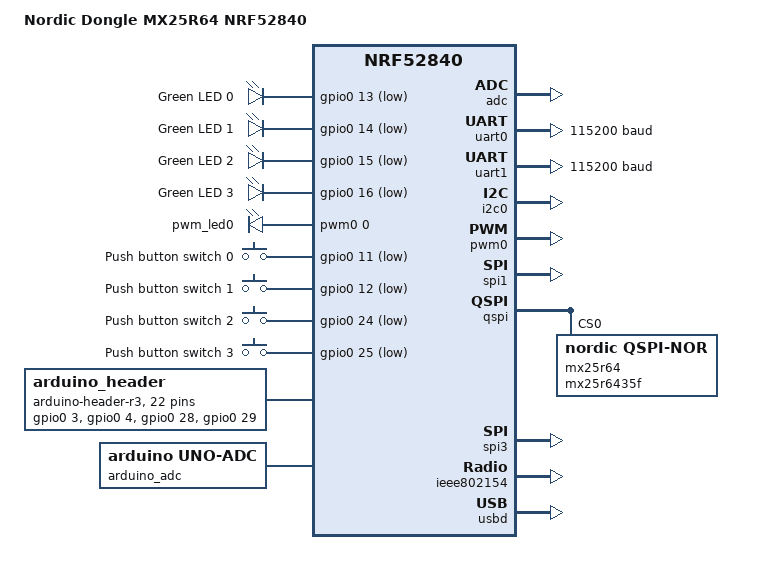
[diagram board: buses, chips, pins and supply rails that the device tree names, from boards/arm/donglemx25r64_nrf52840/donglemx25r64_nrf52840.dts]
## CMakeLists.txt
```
#
# Copyright (c) 2021 Nordic Semiconductor ASA
#
# SPDX-License-Identifier: LicenseRef-Nordic-5-Clause
#

cmake_minimum_required(VERSION 3.20.0)

list(APPEND BOARD_ROOT ${CMAKE_CURRENT_SOURCE_DIR}/.)

get_filename_component(MATTER_MODULE_ROOT $ENV{ZEPHYR_BASE}/../modules/lib/matter REALPATH)

# Set Kconfig root files that will be processed as a first Kconfig for used child images.
set(mcuboot_KCONFIG_ROOT ${MATTER_MODULE_ROOT}/config/nrfconnect/chip-module/Kconfig.mcuboot.root)
set(multiprotocol_rpmsg_KCONFIG_ROOT ${MATTER_MODULE_ROOT}/config/nrfconnect/chip-module/Kconfig.multiprotocol_rpmsg.root)

# For prj.conf the CONF_FILE is empty. In other case extract the exact file name from the path string.
if(CONF_FILE)
    get_filename_component(CONFIG_FILE_NAME ${CONF_FILE} NAME)
endif()

if(NOT CONFIG_FILE_NAME STREQUAL "prj_no_dfu.conf")
    set(PM_STATIC_YML_FILE ${CMAKE_CURRENT_SOURCE_DIR}/configuration/${BOARD}/pm_static_dfu.yml)
endif()

find_package(Zephyr HINTS $ENV{ZEPHYR_BASE})

project(matter-light-bulb)

set(COMMON_ROOT ${ZEPHYR_NRF_MODULE_DIR}/samples/matter/common)
set(NLIO_ROOT ${MATTER_MODULE_ROOT}/third_party/nlio/repo)
include(${MATTER_MODULE_ROOT}/config/nrfconnect/app/enable-gnu-std.cmake)
include(${MATTER_MODULE_ROOT}/src/app/chip_data_model.cmake)

# NORDIC SDK APP START
target_include_directories(app PRIVATE
    src
    ${COMMON_ROOT}/src
    ${NLIO_ROOT}/include
    ${MATTER_MODULE_ROOT}/zzz_generated/app-common
)

target_sources(app PRIVATE
    src/app_task.cpp
    src/main.cpp
    src/zcl_callbacks.cpp
    src/zap-generated/IMClusterCommandHandler.cpp
    src/zap-generated/callback-stub.cpp
    src/libs/ir_protocol.c
    src/libs/ir_thread.c
    src/libs/ir_remote.c
    src/libs/projector_thread.c
    src/libs/screen_thread.c
    ${COMMON_ROOT}/src/led_widget.cpp
    $<$<BOOL:${CONFIG_NET_L2_OPENTHREAD}>:${COMMON_ROOT}/src/thread_util.cpp>
    ${COMMON_ROOT}/src/pwm_device.cpp
)

if(CONFIG_CHIP_OTA_REQUESTOR OR CONFIG_MCUMGR_SMP_BT)
    target_sources(app PRIVATE ${COMMON_ROOT}/src/ota_util.cpp)
endif()

if(CONFIG_MCUMGR_SMP_BT)
    target_sources(app PRIVATE ${COMMON_ROOT}/src/dfu_over_smp.cpp)
endif()

chip_configure_data_model(app
    INCLUDE_SERVER
    ZAP_FILE ${CMAKE_CURRENT_SOURCE_DIR}/src/light_bulb.zap
)
# NORDIC SDK APP END
```

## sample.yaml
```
sample:
  description: Matter Light Bulb example
  name: Matter Light Bulb
tests:
  sample.matter.light_bulb.debug:
    build_only: true
    integration_platforms:
      - nrf52840dk_nrf52840
      - nrf5340dk_nrf5340_cpuapp
      - nrf7002dk_nrf5340_cpuapp
    platform_allow: nrf52840dk_nrf52840 nrf5340dk_nrf5340_cpuapp nrf7002dk_nrf5340_cpuapp
    tags: ci_build
  sample.matter.light_bulb.no_dfu:
    build_only: true
    extra_args: CONF_FILE=prj_no_dfu.conf
    integration_platforms:
      - nrf52840dk_nrf52840
      - nrf5340dk_nrf5340_cpuapp
      - nrf21540dk_nrf52840
      - nrf7002dk_nrf5340_cpuapp
      - nrf52840dongle_nrf52840
    platform_allow: nrf52840dk_nrf52840 nrf5340dk_nrf5340_cpuapp nrf21540dk_nrf52840 nrf7002dk_nrf5340_cpuapp nrf52840dongle_nrf52840
    tags: ci_build
  sample.matter.light_bulb.release:
    build_only: true
    extra_args: CONF_FILE=prj_release.conf
    integration_platforms:
      - nrf52840dk_nrf52840
      - nrf5340dk_nrf5340_cpuapp
      - nrf7002dk_nrf5340_cpuapp
    platform_allow: nrf52840dk_nrf52840 nrf5340dk_nrf5340_cpuapp nrf7002dk_nrf5340_cpuapp
    tags: ci_build
  sample.matter.light_bulb.smp_dfu:
    build_only: true
    extra_args: CONFIG_CHIP_DFU_OVER_BT_SMP=y
    integration_platforms:
      - nrf52840dk_nrf52840
      - nrf5340dk_nrf5340_cpuapp
    platform_allow: nrf52840dk_nrf52840 nrf5340dk_nrf5340_cpuapp
    tags: ci_build
  sample.matter.light_bulb.no_dfu.nrf7002_ek:
    build_only: true
    extra_args: SHIELD=nrf7002_ek CONF_FILE=prj_no_dfu.conf
    integration_platforms:
      - nrf5340dk_nrf5340_cpuapp
    platform_allow: nrf5340dk_nrf5340_cpuapp
    tags: ci_build
  sample.matter.light_bulb.ffs:
    build_only: true
    extra_args: CONFIG_CHIP_COMMISSIONABLE_DEVICE_TYPE=y CONFIG_CHIP_ROTATING_DEVICE_ID=y CONFIG_CHIP_DEVICE_TYPE=256
    integration_platforms:
      - nrf52840dk_nrf52840
      - nrf5340dk_nrf5340_cpuapp
    platform_allow: nrf52840dk_nrf52840 nrf5340dk_nrf5340_cpuapp
    tags: ci_build
```

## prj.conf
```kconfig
#
# Copyright (c) 2022 Nordic Semiconductor ASA
#
# SPDX-License-Identifier: LicenseRef-Nordic-5-Clause
#

# Enable CHIP
CONFIG_CHIP=y
CONFIG_CHIP_PROJECT_CONFIG="src/chip_project_config.h"
# 32773 == 0x8005 (example lighting-app)
CONFIG_CHIP_DEVICE_VENDOR_ID=65521
CONFIG_CHIP_DEVICE_PRODUCT_ID=32773
CONFIG_STD_CPP14=y

CONFIG_CHIP_DEVICE_SOFTWARE_VERSION=1
CONFIG_CHIP_DEVICE_SOFTWARE_VERSION_STRING="V0.0.1"
CONFIG_CHIP_DEVICE_SERIAL_NUMBER="20230107-0001"
CONFIG_CHIP_DEVICE_VENDOR_NAME="Krzysztof Rosinski"
CONFIG_CHIP_DEVICE_PRODUCT_NAME="Projector And Screen"
CONFIG_CHIP_DEVICE_MANUFACTURING_DATE="2023-01-07"
CONFIG_CHIP_DEVICE_HARDWARE_VERSION=1
CONFIG_CHIP_DEVICE_HARDWARE_VERSION_STRING="V0.0.1"

# Enable CHIP pairing automatically on application start.
CONFIG_CHIP_ENABLE_PAIRING_AUTOSTART=y

# Add support for LEDs and buttons on Nordic development kits
CONFIG_DK_LIBRARY=y
CONFIG_PWM=y

# General networking settings
CONFIG_NET_IF_MCAST_IPV6_ADDR_COUNT=14

# Bluetooth Low Energy configuration
CONFIG_BT_DEVICE_NAME="MatterLight"

# Other settings
CONFIG_THREAD_NAME=y
CONFIG_MPU_STACK_GUARD=y
CONFIG_RESET_ON_FATAL_ERROR=n
```

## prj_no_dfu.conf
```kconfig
#
# Copyright (c) 2022 Nordic Semiconductor ASA
#
# SPDX-License-Identifier: LicenseRef-Nordic-5-Clause
#

# Enable CHIP
CONFIG_CHIP=y
CONFIG_CHIP_PROJECT_CONFIG="src/chip_project_config.h"
# 32773 == 0x8005 (example lighting-app)
CONFIG_CHIP_DEVICE_VENDOR_ID=65521
CONFIG_CHIP_DEVICE_PRODUCT_ID=32773
CONFIG_STD_CPP14=y

CONFIG_CHIP_DEVICE_SOFTWARE_VERSION=1
CONFIG_CHIP_DEVICE_SOFTWARE_VERSION_STRING="V0.0.1"
CONFIG_CHIP_DEVICE_SERIAL_NUMBER="20230107-0001"
CONFIG_CHIP_DEVICE_VENDOR_NAME="Krzysztof Rosinski"
CONFIG_CHIP_DEVICE_PRODUCT_NAME="Projector And Screen"
CONFIG_CHIP_DEVICE_MANUFACTURING_DATE="2023-01-07"
CONFIG_CHIP_DEVICE_HARDWARE_VERSION=1
CONFIG_CHIP_DEVICE_HARDWARE_VERSION_STRING="V0.0.1"

# Enable CHIP pairing automatically on application start.
CONFIG_CHIP_ENABLE_PAIRING_AUTOSTART=y

# Add support for LEDs and buttons on Nordic development kits
CONFIG_DK_LIBRARY=y
CONFIG_PWM=y

# General networking settings
CONFIG_NET_IF_MCAST_IPV6_ADDR_COUNT=14

# Bluetooth Low Energy configuration
CONFIG_BT_DEVICE_NAME="MatterLight"

# Other settings
CONFIG_THREAD_NAME=y
CONFIG_MPU_STACK_GUARD=y
CONFIG_RESET_ON_FATAL_ERROR=n

# Disable Matter OTA DFU
CONFIG_CHIP_OTA_REQUESTOR=n

# Disable QSPI NOR
CONFIG_CHIP_QSPI_NOR=n
```

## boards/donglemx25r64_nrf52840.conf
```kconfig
CONFIG_CHIP_QSPI_NOR=y
```

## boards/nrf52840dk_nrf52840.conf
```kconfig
CONFIG_NFCT_PINS_AS_GPIOS=y
```

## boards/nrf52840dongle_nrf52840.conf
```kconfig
CONFIG_BOARD_HAS_NRF5_BOOTLOADER=n
CONFIG_NFCT_PINS_AS_GPIOS=y
CONFIG_NORDIC_QSPI_NOR=y
```

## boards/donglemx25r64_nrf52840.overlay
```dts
/*
 * Copyright (c) 2021-2022 Nordic Semiconductor ASA
 *
 * SPDX-License-Identifier: LicenseRef-Nordic-5-Clause
 */

 / {
  /*
  * In some default configurations within the nRF Connect SDK,
  * e.g. on nRF52840, the chosen zephyr,entropy node is &cryptocell.
  * This devicetree overlay ensures that default is overridden wherever it
  * is set, as this application uses the RNG node for entropy exclusively.
  */

  chosen {
    zephyr,entropy = &rng;
  };

  /*
  * By default, PWM module is only configured for led0 (LED1 on the board).
  * The light bulb app, however, uses LED2 to show the state of the lighting,
  * including its brightness level.
  */
  aliases {
    pwm-led1 = &pwm_led1;
    pwm-ir = &pwm_ir;
  };

  pwmleds {
    pwm_led1: pwm_led_1 {
      pwms = <&pwm0 1 PWM_MSEC(20) PWM_POLARITY_INVERTED>;
    };
  };

  pwm-ir {
    compatible = "pwm-leds";
    pwm_ir: pwm_ir_0 {
      pwms = <&pwm1 0 PWM_MSEC(20) PWM_POLARITY_NORMAL>;
    };
  };

  zephyr,user {
    screen-down-gpios = <&gpio0 29 GPIO_ACTIVE_LOW>;
    screen-up-gpios   = <&gpio0 31 GPIO_ACTIVE_LOW>;
  };
};

&pwm0 {
  pinctrl-0 = <&pwm0_default_alt>;
  pinctrl-1 = <&pwm0_sleep_alt>;
  pinctrl-names = "default", "sleep";
};

&pwm1 {
  status = "okay";
  pinctrl-0 = <&pwm1_default>;
  pinctrl-1 = <&pwm1_sleep>;
  pinctrl-names = "default", "sleep";
};

&pinctrl {
  pwm0_default_alt: pwm0_default_alt {
    group1 {
      psels = <NRF_PSEL(PWM_OUT1, 0, 14)>;
      nordic,invert;
    };
  };

  pwm0_sleep_alt: pwm0_sleep_alt {
    group1 {
      psels = <NRF_PSEL(PWM_OUT1, 0, 14)>;
      low-power-enable;
    };
  };

  pwm1_default: pwm1_default {
    group1 {
      psels = <NRF_PSEL(PWM_OUT0, 1, 0)>;
    };
  };

  pwm1_sleep: pwm1_sleep {
    group1 {
      psels = <NRF_PSEL(PWM_OUT0, 1, 0)>;
      low-power-enable;
    };
  };
};

/* Disable unused peripherals to reduce power consumption */
&adc {
  status = "disabled";
};
&uart1 {
  status = "disabled";
};
&i2c0 {
  status = "disabled";
};
&spi1 {
  status = "disabled";
};
&spi3 {
  status = "disabled";
};
&usbd {
  status = "disabled";
};
```

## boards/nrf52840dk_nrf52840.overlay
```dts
/*
 * Copyright (c) 2021-2022 Nordic Semiconductor ASA
 *
 * SPDX-License-Identifier: LicenseRef-Nordic-5-Clause
 */

/ {
	chosen {
		nordic,pm-ext-flash = &mx25r64;
	};

	/*
	* In some default configurations within the nRF Connect SDK,
	* e.g. on nRF52840, the chosen zephyr,entropy node is &cryptocell.
	* This devicetree overlay ensures that default is overridden wherever it
	* is set, as this application uses the RNG node for entropy exclusively.
	*/

	chosen {
		zephyr,entropy = &rng;
	};

	/*
	* By default, PWM module is only configured for led0 (LED1 on the board).
	* The light bulb app, however, uses LED2 to show the state of the lighting,
	* including its brightness level.
	*/
	aliases {
		pwm-led1 = &pwm_led1;
		pwm-ir = &pwm_ir;
	};

	pwmleds {
		pwm_led1: pwm_led_1 {
			pwms = <&pwm0 1 PWM_MSEC(20) PWM_POLARITY_INVERTED>;
		};
	};

	pwm-ir {
    compatible = "pwm-leds";
    pwm_ir: pwm_ir_0 {
      pwms = <&pwm1 0 PWM_MSEC(20) PWM_POLARITY_NORMAL>;
    };
  };

  zephyr,user {
    screen-down-gpios = <&gpio1 6 GPIO_ACTIVE_LOW>;
    screen-up-gpios   = <&gpio1 7 GPIO_ACTIVE_LOW>;
  };
};

&pwm0 {
	pinctrl-0 = <&pwm0_default_alt>;
	pinctrl-1 = <&pwm0_sleep_alt>;
	pinctrl-names = "default", "sleep";
};

&pwm1 {
  status = "okay";
  pinctrl-0 = <&pwm1_default>;
  pinctrl-1 = <&pwm1_sleep>;
  pinctrl-names = "default", "sleep";
};

&pinctrl {
	pwm0_default_alt: pwm0_default_alt {
		group1 {
			psels = <NRF_PSEL(PWM_OUT1, 0, 14)>;
			nordic,invert;
		};
	};

	pwm0_sleep_alt: pwm0_sleep_alt {
		group1 {
			psels = <NRF_PSEL(PWM_OUT1, 0, 14)>;
			low-power-enable;
		};
	};

	pwm1_default: pwm1_default {
    group1 {
      psels = <NRF_PSEL(PWM_OUT0, 1, 4)>;
    };
  };

  pwm1_sleep: pwm1_sleep {
    group1 {
      psels = <NRF_PSEL(PWM_OUT0, 1, 4)>;
      low-power-enable;
    };
  };

  qspi_default: qspi_default {
    group1 {
      psels = <NRF_PSEL(QSPI_SCK, 0, 9)>,
        <NRF_PSEL(QSPI_IO0, 0, 10)>,
        <NRF_PSEL(QSPI_IO1, 1, 13)>,
        <NRF_PSEL(QSPI_IO2, 1, 10)>,
        <NRF_PSEL(QSPI_IO3, 1, 0)>,
        <NRF_PSEL(QSPI_CSN, 1, 15)>;
    };
  };

  qspi_sleep: qspi_sleep {
    group1 {
      psels = <NRF_PSEL(QSPI_SCK, 0, 9)>,
        <NRF_PSEL(QSPI_IO0, 0, 10)>,
        <NRF_PSEL(QSPI_IO1, 1, 13)>,
        <NRF_PSEL(QSPI_IO2, 1, 10)>,
        <NRF_PSEL(QSPI_IO3, 1, 0)>;
      low-power-enable;
    };
    group2 {
      psels = <NRF_PSEL(QSPI_CSN, 1, 15)>;
      low-power-enable;
      bias-pull-up;
    };
  };
};

&qspi {
  status = "okay";
  pinctrl-0 = <&qspi_default>;
  pinctrl-1 = <&qspi_sleep>;
  pinctrl-names = "default", "sleep";
  mx25r64: mx25r6435f@0 {
    compatible = "nordic,qspi-nor";
    reg = <0>;
    /* MX25R64 supports only pp and pp4io */
    writeoc = "pp4io";
    /* MX25R64 supports all readoc options */
    readoc = "read4io";
    sck-frequency = <2000000>;
    jedec-id = [c2 28 17];
    sfdp-bfp = [
      e5 20 f1 ff  ff ff ff 03  44 eb 08 6b  08 3b 04 bb
      ee ff ff ff  ff ff 00 ff  ff ff 00 ff  0c 20 0f 52
      10 d8 00 ff  23 72 f5 00  82 ed 04 cc  44 83 68 44
      30 b0 30 b0  f7 c4 d5 5c  00 be 29 ff  f0 d0 ff ff
    ];
    size = <67108864>;
    has-dpd;
    t-enter-dpd = <10000>;
    t-exit-dpd = <35000>;
  };
};


/* Disable unused peripherals to reduce power consumption */
&adc {
	status = "disabled";
};
&uart1 {
	status = "disabled";
};
&i2c0 {
	status = "disabled";
};
&spi1 {
	status = "disabled";
};
&spi3 {
	status = "disabled";
};
&usbd {
	status = "disabled";
};
```

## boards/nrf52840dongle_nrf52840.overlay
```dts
/*
 * Copyright (c) 2021-2022 Nordic Semiconductor ASA
 *
 * SPDX-License-Identifier: LicenseRef-Nordic-5-Clause
 */

/ {
  /*
  * By default, PWM module is only configured for led0 (LED1 on the board).
  * The light bulb app, however, uses LED2 to show the state of the lighting,
  * including its brightness level.
  */
  aliases {
    pwm-ir = &pwm_ir;
  };

  pwm-ir {
    compatible = "pwm-leds";
    pwm_ir: pwm_ir_0 {
      pwms = <&pwm1 0 PWM_MSEC(20) PWM_POLARITY_NORMAL>;
    };
  };

  zephyr,user {
    screen-down-gpios = <&gpio1 8 GPIO_ACTIVE_LOW>;
    screen-up-gpios   = <&gpio1 7 GPIO_ACTIVE_LOW>;
  };
};

&pwm1 {
  status = "okay";
  pinctrl-0 = <&pwm1_default>;
  pinctrl-1 = <&pwm1_sleep>;
  pinctrl-names = "default", "sleep";
};

&pinctrl {
  pwm1_default: pwm1_default {
    group1 {
      psels = <NRF_PSEL(PWM_OUT0, 1, 4)>;
    };
  };

  pwm1_sleep: pwm1_sleep {
    group1 {
      psels = <NRF_PSEL(PWM_OUT0, 1, 4)>;
      low-power-enable;
    };
  };
};

/* Disable unused peripherals to reduce power consumption */
&adc {
  status = "disabled";
};
&i2c1 {
  status = "disabled";
};
&spi2 {
  status = "disabled";
};
&usbd {
  status = "disabled";
};
```

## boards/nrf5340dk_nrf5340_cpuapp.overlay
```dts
/*
 * Copyright (c) 2021-2022 Nordic Semiconductor ASA
 *
 * SPDX-License-Identifier: LicenseRef-Nordic-5-Clause
 */

#include <zephyr/dt-bindings/ipc_service/static_vrings.h>

/ {
	chosen {
		nordic,pm-ext-flash = &mx25r64;
	};

	/*
	* By default, PWM module is only configured for led0 (LED1 on the board).
	* The light bulb app, however, uses LED2 to show the state of the lighting,
	* including its brightness level.
	*/
	aliases {
		pwm-led1 = &pwm_led1;
		pwm-ir = &pwm_ir;
	};

	pwmleds {
		compatible = "pwm-leds";
		pwm_led1: pwm_led_1 {
			pwms = < &pwm0 1 PWM_MSEC(20) PWM_POLARITY_INVERTED>;
		};
	};

  pwm-ir {
    compatible = "pwm-leds";
    pwm_ir: pwm_ir_0 {
      pwms = <&pwm1 0 PWM_MSEC(20) PWM_POLARITY_NORMAL>;
    };
  };

  zephyr,user {
    screen-down-gpios = <&gpio1 6 GPIO_ACTIVE_LOW>;
    screen-up-gpios   = <&gpio1 7 GPIO_ACTIVE_LOW>;
  };
};

&ipc0 {
    zephyr,priority = <0 PRIO_COOP>;
};

&pwm0 {
	pinctrl-0 = <&pwm0_default_alt>;
	pinctrl-1 = <&pwm0_sleep_alt>;
	pinctrl-names = "default", "sleep";
};

&pwm1 {
  status = "okay";
  pinctrl-0 = <&pwm1_default>;
  pinctrl-1 = <&pwm1_sleep>;
  pinctrl-names = "default", "sleep";
};

&pinctrl {
	pwm0_default_alt: pwm0_default_alt {
		group1 {
			psels = <NRF_PSEL(PWM_OUT1, 0, 29)>;
			nordic,invert;
		};
	};

	pwm0_sleep_alt: pwm0_sleep_alt {
		group1 {
			psels = <NRF_PSEL(PWM_OUT1, 0, 29)>;
			low-power-enable;
		};
	};

  pwm1_default: pwm1_default {
    group1 {
      psels = <NRF_PSEL(PWM_OUT0, 1, 4)>;
    };
  };

  pwm1_sleep: pwm1_sleep {
    group1 {
      psels = <NRF_PSEL(PWM_OUT0, 1, 4)>;
      low-power-enable;
    };
  };
};

/* Disable unused peripherals to reduce power consumption */
&adc {
	status = "disabled";
};
&i2c1 {
	status = "disabled";
};
&spi2 {
	status = "disabled";
};
&usbd {
	status = "disabled";
};
```

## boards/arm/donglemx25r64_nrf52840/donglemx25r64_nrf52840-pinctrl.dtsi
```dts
/*
 * Copyright (c) 2022 Nordic Semiconductor
 * SPDX-License-Identifier: Apache-2.0
 */

&pinctrl {
	uart0_default: uart0_default {
		group1 {
			psels = <NRF_PSEL(UART_TX, 0, 6)>,
				<NRF_PSEL(UART_RTS, 0, 5)>;
		};
		group2 {
			psels = <NRF_PSEL(UART_RX, 0, 8)>,
				<NRF_PSEL(UART_CTS, 0, 7)>;
			bias-pull-up;
		};
	};

	uart0_sleep: uart0_sleep {
		group1 {
			psels = <NRF_PSEL(UART_TX, 0, 6)>,
				<NRF_PSEL(UART_RX, 0, 8)>,
				<NRF_PSEL(UART_RTS, 0, 5)>,
				<NRF_PSEL(UART_CTS, 0, 7)>;
			low-power-enable;
		};
	};

	uart1_default: uart1_default {
		group1 {
			psels = <NRF_PSEL(UART_RX, 1, 1)>;
			bias-pull-up;
		};
		group2 {
			psels = <NRF_PSEL(UART_TX, 1, 2)>;
		};
	};

	uart1_sleep: uart1_sleep {
		group1 {
			psels = <NRF_PSEL(UART_RX, 1, 1)>,
				<NRF_PSEL(UART_TX, 1, 2)>;
			low-power-enable;
		};
	};

	i2c0_default: i2c0_default {
		group1 {
			psels = <NRF_PSEL(TWIM_SDA, 0, 26)>,
				<NRF_PSEL(TWIM_SCL, 0, 27)>;
		};
	};

	i2c0_sleep: i2c0_sleep {
		group1 {
			psels = <NRF_PSEL(TWIM_SDA, 0, 26)>,
				<NRF_PSEL(TWIM_SCL, 0, 27)>;
			low-power-enable;
		};
	};

	i2c1_default: i2c1_default {
		group1 {
			psels = <NRF_PSEL(TWIM_SDA, 0, 30)>,
				<NRF_PSEL(TWIM_SCL, 0, 31)>;
		};
	};

	i2c1_sleep: i2c1_sleep {
		group1 {
			psels = <NRF_PSEL(TWIM_SDA, 0, 30)>,
				<NRF_PSEL(TWIM_SCL, 0, 31)>;
			low-power-enable;
		};
	};

	pwm0_default: pwm0_default {
		group1 {
			psels = <NRF_PSEL(PWM_OUT0, 0, 13)>;
			nordic,invert;
		};
	};

	pwm0_sleep: pwm0_sleep {
		group1 {
			psels = <NRF_PSEL(PWM_OUT0, 0, 13)>;
			low-power-enable;
		};
	};

	spi0_default: spi0_default {
		group1 {
			psels = <NRF_PSEL(SPIM_SCK, 0, 27)>,
				<NRF_PSEL(SPIM_MOSI, 0, 26)>,
				<NRF_PSEL(SPIM_MISO, 0, 29)>;
		};
	};

	spi0_sleep: spi0_sleep {
		group1 {
			psels = <NRF_PSEL(SPIM_SCK, 0, 27)>,
				<NRF_PSEL(SPIM_MOSI, 0, 26)>,
				<NRF_PSEL(SPIM_MISO, 0, 29)>;
			low-power-enable;
		};
	};

	spi1_default: spi1_default {
		group1 {
			psels = <NRF_PSEL(SPIM_SCK, 0, 31)>,
				<NRF_PSEL(SPIM_MOSI, 0, 30)>,
				<NRF_PSEL(SPIM_MISO, 1, 8)>;
		};
	};

	spi1_sleep: spi1_sleep {
		group1 {
			psels = <NRF_PSEL(SPIM_SCK, 0, 31)>,
				<NRF_PSEL(SPIM_MOSI, 0, 30)>,
				<NRF_PSEL(SPIM_MISO, 1, 8)>;
			low-power-enable;
		};
	};

	spi2_default: spi2_default {
		group1 {
			psels = <NRF_PSEL(SPIM_SCK, 0, 19)>,
				<NRF_PSEL(SPIM_MOSI, 0, 20)>,
				<NRF_PSEL(SPIM_MISO, 0, 21)>;
		};
	};

	spi2_sleep: spi2_sleep {
		group1 {
			psels = <NRF_PSEL(SPIM_SCK, 0, 19)>,
				<NRF_PSEL(SPIM_MOSI, 0, 20)>,
				<NRF_PSEL(SPIM_MISO, 0, 21)>;
			low-power-enable;
		};
	};

	qspi_default: qspi_default {
		group1 {
			psels = <NRF_PSEL(QSPI_SCK, 0, 22)>,
				<NRF_PSEL(QSPI_IO0, 0, 20)>,
				<NRF_PSEL(QSPI_IO1, 0, 15)>,
				<NRF_PSEL(QSPI_IO2, 0, 13)>,
				<NRF_PSEL(QSPI_IO3, 0, 24)>,
				<NRF_PSEL(QSPI_CSN, 0, 17)>;
		};
	};

	qspi_sleep: qspi_sleep {
		group1 {
			psels = <NRF_PSEL(QSPI_SCK, 0, 22)>,
				<NRF_PSEL(QSPI_IO0, 0, 20)>,
				<NRF_PSEL(QSPI_IO1, 0, 15)>,
				<NRF_PSEL(QSPI_IO2, 0, 13)>,
				<NRF_PSEL(QSPI_IO3, 0, 24)>;
			low-power-enable;
		};
		group2 {
			psels = <NRF_PSEL(QSPI_CSN, 0, 17)>;
			low-power-enable;
			bias-pull-up;
		};
	};

	spi3_default: spi3_default {
		group1 {
			psels = <NRF_PSEL(SPIM_SCK, 1, 15)>,
				<NRF_PSEL(SPIM_MISO, 1, 14)>,
				<NRF_PSEL(SPIM_MOSI, 1, 13)>;
		};
	};

	spi3_sleep: spi3_sleep {
		group1 {
			psels = <NRF_PSEL(SPIM_SCK, 1, 15)>,
				<NRF_PSEL(SPIM_MISO, 1, 14)>,
				<NRF_PSEL(SPIM_MOSI, 1, 13)>;
			low-power-enable;
		};
	};

};
```

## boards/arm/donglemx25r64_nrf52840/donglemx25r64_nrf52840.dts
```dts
/*
 * Copyright (c) 2017 Linaro Limited
 *
 * SPDX-License-Identifier: Apache-2.0
 */

/dts-v1/;
#include <nordic/nrf52840_qiaa.dtsi>
#include "donglemx25r64_nrf52840-pinctrl.dtsi"

/ {
	model = "Nordic Dongle MX25R64 NRF52840";
	compatible = "nordic,dongle-mx25r64-nrf52840";

	chosen {
		zephyr,console = &uart0;
		zephyr,shell-uart = &uart0;
		zephyr,uart-mcumgr = &uart0;
		zephyr,bt-mon-uart = &uart0;
		zephyr,bt-c2h-uart = &uart0;
		zephyr,sram = &sram0;
		zephyr,flash = &flash0;
		zephyr,code-partition = &slot0_partition;
		zephyr,ieee802154 = &ieee802154;
		nordic,pm-ext-flash = &mx25r64;
	};

	leds {
		compatible = "gpio-leds";
		led0: led_0 {
			gpios = <&gpio0 13 GPIO_ACTIVE_LOW>;
			label = "Green LED 0";
		};
		led1: led_1 {
			gpios = <&gpio0 14 GPIO_ACTIVE_LOW>;
			label = "Green LED 1";
		};
		led2: led_2 {
			gpios = <&gpio0 15 GPIO_ACTIVE_LOW>;
			label = "Green LED 2";
		};
		led3: led_3 {
			gpios = <&gpio0 16 GPIO_ACTIVE_LOW>;
			label = "Green LED 3";
		};
	};

	pwmleds {
		compatible = "pwm-leds";
		pwm_led0: pwm_led_0 {
			pwms = <&pwm0 0 PWM_MSEC(20) PWM_POLARITY_INVERTED>;
		};
	};

	buttons {
		compatible = "gpio-keys";
		button0: button_0 {
			gpios = <&gpio0 11 (GPIO_PULL_UP | GPIO_ACTIVE_LOW)>;
			label = "Push button switch 0";
		};
		button1: button_1 {
			gpios = <&gpio0 12 (GPIO_PULL_UP | GPIO_ACTIVE_LOW)>;
			label = "Push button switch 1";
		};
		button2: button_2 {
			gpios = <&gpio0 24 (GPIO_PULL_UP | GPIO_ACTIVE_LOW)>;
			label = "Push button switch 2";
		};
		button3: button_3 {
			gpios = <&gpio0 25 (GPIO_PULL_UP | GPIO_ACTIVE_LOW)>;
			label = "Push button switch 3";
		};
	};

	arduino_header: connector {
		compatible = "arduino-header-r3";
		#gpio-cells = <2>;
		gpio-map-mask = <0xffffffff 0xffffffc0>;
		gpio-map-pass-thru = <0 0x3f>;
		gpio-map = <0 0 &gpio0 3 0>,	/* A0 */
			   <1 0 &gpio0 4 0>,	/* A1 */
			   <2 0 &gpio0 28 0>,	/* A2 */
			   <3 0 &gpio0 29 0>,	/* A3 */
			   <4 0 &gpio0 30 0>,	/* A4 */
			   <5 0 &gpio0 31 0>,	/* A5 */
			   <6 0 &gpio1 1 0>,	/* D0 */
			   <7 0 &gpio1 2 0>,	/* D1 */
			   <8 0 &gpio1 3 0>,	/* D2 */
			   <9 0 &gpio1 4 0>,	/* D3 */
			   <10 0 &gpio1 5 0>,	/* D4 */
			   <11 0 &gpio1 6 0>,	/* D5 */
			   <12 0 &gpio1 7 0>,	/* D6 */
			   <13 0 &gpio1 8 0>,	/* D7 */
			   <14 0 &gpio1 10 0>,	/* D8 */
			   <15 0 &gpio1 11 0>,	/* D9 */
			   <16 0 &gpio1 12 0>,	/* D10 */
			   <17 0 &gpio1 13 0>,	/* D11 */
			   <18 0 &gpio1 14 0>,	/* D12 */
			   <19 0 &gpio1 15 0>,	/* D13 */
			   <20 0 &gpio0 26 0>,	/* D14 */
			   <21 0 &gpio0 27 0>;	/* D15 */
	};

	arduino_adc: analog-connector {
		compatible = "arduino,uno-adc";
		#io-channel-cells = <1>;
		io-channel-map = <0 &adc 1>,	/* A0 = P0.3 = AIN1 */
				 <1 &adc 2>,	/* A1 = P0.4 = AIN2 */
				 <2 &adc 4>,	/* A2 = P0.28 = AIN4 */
				 <3 &adc 5>,	/* A3 = P0.29 = AIN5 */
				 <4 &adc 6>,	/* A4 = P0.30 = AIN6 */
				 <5 &adc 7>;	/* A5 = P0.31 = AIN7 */
	};

	/* These aliases are provided for compatibility with samples */
	aliases {
		led0 = &led0;
		led1 = &led1;
		led2 = &led2;
		led3 = &led3;
		pwm-led0 = &pwm_led0;
		sw0 = &button0;
		sw1 = &button1;
		sw2 = &button2;
		sw3 = &button3;
		bootloader-led0 = &led0;
		mcuboot-button0 = &button0;
		mcuboot-led0 = &led0;
		watchdog0 = &wdt0;
		spi-flash0 = &mx25r64;
	};
};

&adc {
	status = "okay";
};

&gpiote {
	status = "okay";
};

&gpio0 {
	status = "okay";
};

&gpio1 {
	status = "okay";
};

&uart0 {
	compatible = "nordic,nrf-uarte";
	status = "okay";
	current-speed = <115200>;
	pinctrl-0 = <&uart0_default>;
	pinctrl-1 = <&uart0_sleep>;
	pinctrl-names = "default", "sleep";
};

arduino_serial: &uart1 {
	status = "okay";
	current-speed = <115200>;
	pinctrl-0 = <&uart1_default>;
	pinctrl-1 = <&uart1_sleep>;
	pinctrl-names = "default", "sleep";
};

arduino_i2c: &i2c0 {
	compatible = "nordic,nrf-twi";
	status = "okay";
	pinctrl-0 = <&i2c0_default>;
	pinctrl-1 = <&i2c0_sleep>;
	pinctrl-names = "default", "sleep";
};

&i2c1 {
	compatible = "nordic,nrf-twi";
	/* Cannot be used together with spi1. */
	/* status = "okay"; */
	pinctrl-0 = <&i2c1_default>;
	pinctrl-1 = <&i2c1_sleep>;
	pinctrl-names = "default", "sleep";
};

&pwm0 {
	status = "okay";
	pinctrl-0 = <&pwm0_default>;
	pinctrl-1 = <&pwm0_sleep>;
	pinctrl-names = "default", "sleep";
};

&spi0 {
	compatible = "nordic,nrf-spi";
	/* Cannot be used together with i2c0. */
	/* status = "okay"; */
	pinctrl-0 = <&spi0_default>;
	pinctrl-1 = <&spi0_sleep>;
	pinctrl-names = "default", "sleep";
};

&spi1 {
	compatible = "nordic,nrf-spi";
	status = "okay";
	pinctrl-0 = <&spi1_default>;
	pinctrl-1 = <&spi1_sleep>;
	pinctrl-names = "default", "sleep";
};

&spi2 {
	compatible = "nordic,nrf-spi";
	status = "disabled";
	pinctrl-0 = <&spi2_default>;
	pinctrl-1 = <&spi2_sleep>;
	pinctrl-names = "default", "sleep";
};

&qspi {
	status = "okay";
	pinctrl-0 = <&qspi_default>;
	pinctrl-1 = <&qspi_sleep>;
	pinctrl-names = "default", "sleep";
	mx25r64: mx25r6435f@0 {
		compatible = "nordic,qspi-nor";
		reg = <0>;
		/* MX25R64 supports only pp and pp4io */
		writeoc = "pp4io";
		/* MX25R64 supports all readoc options */
		readoc = "read4io";
		sck-frequency = <8000000>;
		jedec-id = [c2 28 17];
		sfdp-bfp = [
			e5 20 f1 ff  ff ff ff 03  44 eb 08 6b  08 3b 04 bb
			ee ff ff ff  ff ff 00 ff  ff ff 00 ff  0c 20 0f 52
			10 d8 00 ff  23 72 f5 00  82 ed 04 cc  44 83 68 44
			30 b0 30 b0  f7 c4 d5 5c  00 be 29 ff  f0 d0 ff ff
		];
		size = <67108864>;
		has-dpd;
		t-enter-dpd = <10000>;
		t-exit-dpd = <35000>;
	};
};

arduino_spi: &spi3 {
	status = "okay";
	cs-gpios = <&arduino_header 16 GPIO_ACTIVE_LOW>; /* D10 */
	pinctrl-0 = <&spi3_default>;
	pinctrl-1 = <&spi3_sleep>;
	pinctrl-names = "default", "sleep";
};

&ieee802154 {
	status = "okay";
};

&flash0 {

	partitions {
		compatible = "fixed-partitions";
		#address-cells = <1>;
		#size-cells = <1>;

		boot_partition: partition@0 {
			label = "mcuboot";
			reg = <0x00000000 0x0000C000>;
		};
		slot0_partition: partition@c000 {
			label = "image-0";
			reg = <0x0000C000 0x00067000>;
		};
		slot1_partition: partition@73000 {
			label = "image-1";
			reg = <0x00073000 0x00067000>;
		};
		scratch_partition: partition@da000 {
			label = "image-scratch";
			reg = <0x000da000 0x0001e000>;
		};

		/*
		 * The flash starting at 0x000f8000 and ending at
		 * 0x000fffff is reserved for use by the application.
		 */

		/*
		 * Storage partition will be used by FCB/LittleFS/NVS
		 * if enabled.
		 */
		storage_partition: partition@f8000 {
			label = "storage";
			reg = <0x000f8000 0x00008000>;
		};
	};
};

zephyr_udc0: &usbd {
	compatible = "nordic,nrf-usbd";
	status = "okay";
};
```

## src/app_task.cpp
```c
/*
 * Copyright (c) 2021 Nordic Semiconductor ASA
 *
 * SPDX-License-Identifier: LicenseRef-Nordic-5-Clause
 */

#include "app_task.h"

#include "app_config.h"
#include "led_util.h"
#include "pwm_device.h"
#include "libs/projector_thread.h"
#include "libs/screen_thread.h"

#ifdef CONFIG_NET_L2_OPENTHREAD
#include "thread_util.h"
#endif

#include <platform/CHIPDeviceLayer.h>

#include <app-common/zap-generated/attribute-id.h>
#include <app-common/zap-generated/attribute-type.h>
#include <app-common/zap-generated/attributes/Accessors.h>
#include <app-common/zap-generated/cluster-id.h>
#include <app/DeferredAttributePersistenceProvider.h>
#include <app/clusters/identify-server/identify-server.h>
#include <app/server/OnboardingCodesUtil.h>
#include <app/server/Server.h>
#include <credentials/DeviceAttestationCredsProvider.h>
#include <credentials/examples/DeviceAttestationCredsExample.h>
#include <lib/support/CHIPMem.h>
#include <lib/support/CodeUtils.h>
#include <system/SystemError.h>

#ifdef CONFIG_CHIP_WIFI
#include <app/clusters/network-commissioning/network-commissioning.h>
#include <platform/nrfconnect/wifi/NrfWiFiDriver.h>
#endif

#ifdef CONFIG_CHIP_OTA_REQUESTOR
#include "ota_util.h"
#endif

#include <dk_buttons_and_leds.h>
#include <zephyr/logging/log.h>
#include <zephyr/kernel.h>

LOG_MODULE_DECLARE(app, CONFIG_MATTER_LOG_LEVEL);

using namespace ::chip;
using namespace ::chip::app;
using namespace ::chip::Credentials;
using namespace ::chip::DeviceLayer;

namespace
{
constexpr uint32_t kFactoryResetTriggerTimeout = 3000;
constexpr uint32_t kFactoryResetCancelWindowTimeout = 3000;
constexpr size_t kAppEventQueueSize = 10;
constexpr EndpointId kLightEndpointId = 1;
constexpr uint8_t kDefaultMinLevel = 0;
constexpr uint8_t kDefaultMaxLevel = 254;
#if NUMBER_OF_BUTTONS == 2
constexpr uint32_t kAdvertisingTriggerTimeout = 3000;
#endif

K_MSGQ_DEFINE(sAppEventQueue, sizeof(AppEvent), kAppEventQueueSize, alignof(AppEvent));
k_timer sFunctionTimer;

Identify sIdentify = { kLightEndpointId, AppTask::IdentifyStartHandler, AppTask::IdentifyStopHandler,
		       EMBER_ZCL_IDENTIFY_IDENTIFY_TYPE_VISIBLE_LED };

LEDWidget sStatusLED;
LEDWidget sIdentifyLED;
#if NUMBER_OF_LEDS == 4
FactoryResetLEDsWrapper<2> sFactoryResetLEDs{ { FACTORY_RESET_SIGNAL_LED, FACTORY_RESET_SIGNAL_LED1 } };
#endif

bool sIsNetworkProvisioned = false;
bool sIsNetworkEnabled = false;
bool sHaveBLEConnections = false;

const struct pwm_dt_spec sLightPwmDevice = PWM_DT_SPEC_GET(DT_ALIAS(pwm_led1));

// Define a custom attribute persister which makes actual write of the CurrentLevel attribute value
// to the non-volatile storage only when it has remained constant for 5 seconds. This is to reduce
// the flash wearout when the attribute changes frequently as a result of MoveToLevel command.
// DeferredAttribute object describes a deferred attribute, but also holds a buffer with a value to
// be written, so it must live so long as the DeferredAttributePersistenceProvider object.
DeferredAttribute gCurrentLevelPersister(ConcreteAttributePath(kLightEndpointId, Clusters::LevelControl::Id,
							       Clusters::LevelControl::Attributes::CurrentLevel::Id));
DeferredAttributePersistenceProvider gDeferredAttributePersister(Server::GetInstance().GetDefaultAttributePersister(),
								 Span<DeferredAttribute>(&gCurrentLevelPersister, 1),
								 System::Clock::Milliseconds32(5000));

} /* namespace */

namespace LedConsts
{
constexpr uint32_t kBlinkRate_ms{ 500 };
constexpr uint32_t kIdentifyBlinkRate_ms{ 500 };

namespace StatusLed
{
	namespace Unprovisioned
	{
		constexpr uint32_t kOn_ms{ 100 };
		constexpr uint32_t kOff_ms{ kOn_ms };
	} /* namespace Unprovisioned */
	namespace Provisioned
	{
		constexpr uint32_t kOn_ms{ 50 };
		constexpr uint32_t kOff_ms{ 950 };
	} /* namespace Provisioned */

} /* namespace StatusLed */
} /* namespace LedConsts */

#ifdef CONFIG_CHIP_WIFI
app::Clusters::NetworkCommissioning::Instance
	sWiFiCommissioningInstance(0, &(NetworkCommissioning::NrfWiFiDriver::Instance()));
#endif

CHIP_ERROR AppTask::Init()
{
  int ret;

  /* Initialize CHIP stack */
  LOG_INF("Init CHIP stack");

  ret = projector_init();
  if (ret != 0) {
    LOG_ERR("Error: projector_init() failed with %d\n", ret);
    return chip::System::MapErrorZephyr(ret);
  }

  ret = screen_init();
  if (ret != 0) {
    LOG_ERR("Error: screen_init() failed with %d\n", ret);
    return chip::System::MapErrorZephyr(ret);
  }

	CHIP_ERROR err = chip::Platform::MemoryInit();
	if (err != CHIP_NO_ERROR) {
		LOG_ERR("Platform::MemoryInit() failed");
		return err;
	}

	err = PlatformMgr().InitChipStack();
	if (err != CHIP_NO_ERROR) {
		LOG_ERR("PlatformMgr().InitChipStack() failed");
		return err;
	}

#if defined(CONFIG_NET_L2_OPENTHREAD)
	err = ThreadStackMgr().InitThreadStack();
	if (err != CHIP_NO_ERROR) {
		LOG_ERR("ThreadStackMgr().InitThreadStack() failed: %s", ErrorStr(err));
		return err;
	}

	err = ConnectivityMgr().SetThreadDeviceType(ConnectivityManager::kThreadDeviceType_Router);

	if (err != CHIP_NO_ERROR) {
		LOG_ERR("ThreadStackMgr().InitThreadStack() failed: %s", ErrorStr(err));
		return err;
	}

#ifdef CONFIG_OPENTHREAD_DEFAULT_TX_POWER
	err = SetDefaultThreadOutputPower();
	if (err != CHIP_NO_ERROR) {
		LOG_ERR("Cannot set default Thread output power");
		return err;
	}
#endif /* CONFIG_OPENTHREAD_DEFAULT_TX_POWER */
#elif defined(CONFIG_CHIP_WIFI)
	sWiFiCommissioningInstance.Init();
#else
	return CHIP_ERROR_INTERNAL;
#endif /* CONFIG_NET_L2_OPENTHREAD */

	/* Initialize LEDs */
	LEDWidget::InitGpio();
	LEDWidget::SetStateUpdateCallback(LEDStateUpdateHandler);

	sStatusLED.Init(SYSTEM_STATE_LED);
	sIdentifyLED.Init(LIGHTING_STATE_LED);
	sIdentifyLED.Set(false);

	UpdateStatusLED();

	/* Initialize buttons */
	ret = dk_buttons_init(ButtonEventHandler);
	if (ret) {
		LOG_ERR("dk_buttons_init() failed");
		return chip::System::MapErrorZephyr(ret);
	}

	/* Initialize function timer */
	k_timer_init(&sFunctionTimer, &AppTask::FunctionTimerTimeoutCallback, nullptr);
	k_timer_user_data_set(&sFunctionTimer, this);

#ifdef CONFIG_MCUMGR_SMP_BT
	/* Initialize DFU over SMP */
	GetDFUOverSMP().Init(RequestSMPAdvertisingStart);
	GetDFUOverSMP().ConfirmNewImage();
#endif

	/* Initialize lighting device (PWM) */
	uint8_t minLightLevel = kDefaultMinLevel;
	Clusters::LevelControl::Attributes::MinLevel::Get(kLightEndpointId, &minLightLevel);

	uint8_t maxLightLevel = kDefaultMaxLevel;
	Clusters::LevelControl::Attributes::MaxLevel::Get(kLightEndpointId, &maxLightLevel);

	ret = mPWMDevice.Init(&sLightPwmDevice, minLightLevel, maxLightLevel, maxLightLevel);
	if (ret != 0) {
		return chip::System::MapErrorZephyr(ret);
	}
	mPWMDevice.SetCallbacks(ActionInitiated, ActionCompleted);

	/* Initialize CHIP server */
#if CONFIG_CHIP_FACTORY_DATA
	ReturnErrorOnFailure(mFactoryDataProvider.Init());
	SetDeviceInstanceInfoProvider(&mFactoryDataProvider);
	SetDeviceAttestationCredentialsProvider(&mFactoryDataProvider);
	SetCommissionableDataProvider(&mFactoryDataProvider);
#else
	SetDeviceAttestationCredentialsProvider(Examples::GetExampleDACProvider());
#endif

	static CommonCaseDeviceServerInitParams initParams;
	(void)initParams.InitializeStaticResourcesBeforeServerInit();

	ReturnErrorOnFailure(chip::Server::GetInstance().Init(initParams));
	app::SetAttributePersistenceProvider(&gDeferredAttributePersister);
	ConfigurationMgr().LogDeviceConfig();
	PrintOnboardingCodes(chip::RendezvousInformationFlags(chip::RendezvousInformationFlag::kBLE));

	/*
	 * Add CHIP event handler and start CHIP thread.
	 * Note that all the initialization code should happen prior to this point to avoid data races
	 * between the main and the CHIP threads.
	 */
	PlatformMgr().AddEventHandler(ChipEventHandler, 0);

	err = PlatformMgr().StartEventLoopTask();
	if (err != CHIP_NO_ERROR) {
		LOG_ERR("PlatformMgr().StartEventLoopTask() failed");
		return err;
	}

	return CHIP_NO_ERROR;
}

CHIP_ERROR AppTask::StartApp()
{
	ReturnErrorOnFailure(Init());

	AppEvent event = {};

	while (true) {
		k_msgq_get(&sAppEventQueue, &event, K_FOREVER);
		DispatchEvent(event);
	}

	return CHIP_NO_ERROR;
}

void AppTask::IdentifyStartHandler(Identify *)
{
	AppEvent event;
	event.Type = AppEventType::IdentifyStart;
	event.Handler = [](const AppEvent &) {
		Instance().mPWMDevice.SuppressOutput();
		sIdentifyLED.Blink(LedConsts::kIdentifyBlinkRate_ms);
	};
	PostEvent(event);
}

void AppTask::IdentifyStopHandler(Identify *)
{
	AppEvent event;
	event.Type = AppEventType::IdentifyStop;
	event.Handler = [](const AppEvent &) {
		sIdentifyLED.Set(false);
		Instance().mPWMDevice.ApplyLevel();
	};
	PostEvent(event);
}

#if NUMBER_OF_BUTTONS == 2
void AppTask::StartBLEAdvertisementAndLightActionEventHandler(const AppEvent &event)
{
	if (event.ButtonEvent.Action == static_cast<uint8_t>(AppEventType::ButtonPushed)) {
		Instance().StartTimer(kAdvertisingTriggerTimeout);
		Instance().mFunction = FunctionEvent::AdvertisingStart;
	} else {
		if (Instance().mFunction == FunctionEvent::AdvertisingStart && Instance().mFunctionTimerActive) {
			Instance().CancelTimer();
			Instance().mFunction = FunctionEvent::NoneSelected;

			AppEvent button_event;
			button_event.Type = AppEventType::Button;
			button_event.ButtonEvent.PinNo = BLE_ADVERTISEMENT_START_AND_LIGHTING_BUTTON;
			button_event.ButtonEvent.Action = static_cast<uint8_t>(AppEventType::ButtonReleased);
			button_event.Handler = LightingActionEventHandler;
			PostEvent(button_event);
		}
	}
}
#endif

void AppTask::LightingActionEventHandler(const AppEvent &event)
{
	PWMDevice::Action_t action = PWMDevice::INVALID_ACTION;
	int32_t actor = 0;

	if (event.Type == AppEventType::Lighting) {
		action = static_cast<PWMDevice::Action_t>(event.LightingEvent.Action);
		actor = event.LightingEvent.Actor;
	} else if (event.Type == AppEventType::Button) {
		action = Instance().mPWMDevice.IsTurnedOn() ? PWMDevice::OFF_ACTION : PWMDevice::ON_ACTION;
		actor = static_cast<int32_t>(AppEventType::Button);
	}

	if (action != PWMDevice::INVALID_ACTION && Instance().mPWMDevice.InitiateAction(action, actor, NULL)) {
		LOG_INF("Action is already in progress or active.");
	}
}

void AppTask::ButtonEventHandler(uint32_t buttonState, uint32_t hasChanged)
{
	AppEvent button_event;
	button_event.Type = AppEventType::Button;

#if NUMBER_OF_BUTTONS == 2
	if (BLE_ADVERTISEMENT_START_AND_LIGHTING_BUTTON_MASK & hasChanged) {
		button_event.ButtonEvent.PinNo = BLE_ADVERTISEMENT_START_AND_LIGHTING_BUTTON;
		button_event.ButtonEvent.Action =
			static_cast<uint8_t>((BLE_ADVERTISEMENT_START_AND_LIGHTING_BUTTON_MASK & buttonState) ?
						     AppEventType::ButtonPushed :
						     AppEventType::ButtonReleased);
		button_event.Handler = StartBLEAdvertisementAndLightActionEventHandler;
		PostEvent(button_event);
	}
#else
	if (LIGHTING_BUTTON_MASK & buttonState & hasChanged) {
		button_event.ButtonEvent.PinNo = LIGHTING_BUTTON;
		button_event.ButtonEvent.Action = static_cast<uint8_t>(AppEventType::ButtonPushed);
		button_event.Handler = LightingActionEventHandler;
		PostEvent(button_event);
	}

	if (BLE_ADVERTISEMENT_START_BUTTON_MASK & buttonState & hasChanged) {
		button_event.ButtonEvent.PinNo = BLE_ADVERTISEMENT_START_BUTTON;
		button_event.ButtonEvent.Action = static_cast<uint8_t>(AppEventType::ButtonPushed);
		button_event.Handler = StartBLEAdvertisementHandler;
		PostEvent(button_event);
	}
#endif

	if (FUNCTION_BUTTON_MASK & hasChanged) {
		button_event.ButtonEvent.PinNo = FUNCTION_BUTTON;
		button_event.ButtonEvent.Action =
			static_cast<uint8_t>((FUNCTION_BUTTON_MASK & buttonState) ? AppEventType::ButtonPushed :
										    AppEventType::ButtonReleased);
		button_event.Handler = FunctionHandler;
		PostEvent(button_event);
	}
}

void AppTask::FunctionTimerTimeoutCallback(k_timer *timer)
{
	if (!timer) {
		return;
	}

	Instance().mFunctionTimerActive = false;
	AppEvent event;
	event.Type = AppEventType::Timer;
	event.TimerEvent.Context = k_timer_user_data_get(timer);
	event.Handler = FunctionTimerEventHandler;
	PostEvent(event);
}

void AppTask::FunctionTimerEventHandler(const AppEvent &event)
{
	if (event.Type != AppEventType::Timer) {
		return;
	}

	/* If we reached here, the button was held past kFactoryResetTriggerTimeout, initiate factory reset */
	if (Instance().mFunction == FunctionEvent::SoftwareUpdate) {
		LOG_INF("Factory Reset Triggered. Release button within %ums to cancel.", kFactoryResetTriggerTimeout);

		/* Start timer for kFactoryResetCancelWindowTimeout to allow user to cancel, if required. */
		Instance().StartTimer(kFactoryResetCancelWindowTimeout);
		Instance().mFunction = FunctionEvent::FactoryReset;

		/* Turn off all LEDs before starting blink to make sure blink is co-ordinated. */
		sStatusLED.Set(false);
#if NUMBER_OF_LEDS == 4
		sFactoryResetLEDs.Set(false);
#endif

		sStatusLED.Blink(LedConsts::kBlinkRate_ms);
#if NUMBER_OF_LEDS == 4
		sFactoryResetLEDs.Blink(LedConsts::kBlinkRate_ms);
#endif
	} else if (Instance().mFunction == FunctionEvent::FactoryReset) {
		/* Actually trigger Factory Reset */
		Instance().mFunction = FunctionEvent::NoneSelected;
		chip::Server::GetInstance().ScheduleFactoryReset();
	} else if (Instance().mFunction == FunctionEvent::AdvertisingStart) {
		/* The button was held past kAdvertisingTriggerTimeout, start BLE advertisement
		   if we have 2 buttons UI*/
#if NUMBER_OF_BUTTONS == 2
		StartBLEAdvertisementHandler(event);
		Instance().mFunction = FunctionEvent::NoneSelected;
#endif
	}
}

#ifdef CONFIG_MCUMGR_SMP_BT
void AppTask::RequestSMPAdvertisingStart(void)
{
	AppEvent event;
	event.Type = AppEventType::StartSMPAdvertising;
	event.Handler = [](const AppEvent &) { GetDFUOverSMP().StartBLEAdvertising(); };
	PostEvent(event);
}
#endif

void AppTask::FunctionHandler(const AppEvent &event)
{
	if (event.ButtonEvent.PinNo != FUNCTION_BUTTON)
		return;

	/* To trigger software update: press the FUNCTION_BUTTON button briefly (< kFactoryResetTriggerTimeout)
	 * To initiate factory reset: press the FUNCTION_BUTTON for kFactoryResetTriggerTimeout +
	 * kFactoryResetCancelWindowTimeout All LEDs start blinking after kFactoryResetTriggerTimeout to signal factory
	 * reset has been initiated. To cancel factory reset: release the FUNCTION_BUTTON once all LEDs start blinking
	 * within the kFactoryResetCancelWindowTimeout.
	 */
	if (event.ButtonEvent.Action == static_cast<uint8_t>(AppEventType::ButtonPushed)) {
		if (!Instance().mFunctionTimerActive && Instance().mFunction == FunctionEvent::NoneSelected) {
			Instance().StartTimer(kFactoryResetTriggerTimeout);
			Instance().mFunction = FunctionEvent::SoftwareUpdate;
		}
	} else {
		/* If the button was released before factory reset got initiated, trigger a software update. */
		if (Instance().mFunctionTimerActive && Instance().mFunction == FunctionEvent::SoftwareUpdate) {
			Instance().CancelTimer();
			Instance().mFunction = FunctionEvent::NoneSelected;

#ifdef CONFIG_MCUMGR_SMP_BT
			GetDFUOverSMP().StartServer();
#else
			LOG_INF("Software update is disabled");
#endif
		} else if (Instance().mFunctionTimerActive && Instance().mFunction == FunctionEvent::FactoryReset) {
#if NUMBER_OF_LEDS == 4
			sFactoryResetLEDs.Set(false);
#endif
			UpdateStatusLED();
			Instance().CancelTimer();
			Instance().mFunction = FunctionEvent::NoneSelected;
			LOG_INF("Factory Reset has been Canceled");
		}
	}
}

void AppTask::StartBLEAdvertisementHandler(const AppEvent &)
{
	if (Server::GetInstance().GetFabricTable().FabricCount() != 0) {
		LOG_INF("Matter service BLE advertising not started - device is already commissioned");
		return;
	}

	if (ConnectivityMgr().IsBLEAdvertisingEnabled()) {
		LOG_INF("BLE advertising is already enabled");
		return;
	}

	if (Server::GetInstance().GetCommissioningWindowManager().OpenBasicCommissioningWindow() != CHIP_NO_ERROR) {
		LOG_ERR("OpenBasicCommissioningWindow() failed");
	}
}

void AppTask::UpdateLedStateEventHandler(const AppEvent &event)
{
	if (event.Type == AppEventType::UpdateLedState) {
		event.UpdateLedStateEvent.LedWidget->UpdateState();
	}
}

void AppTask::LEDStateUpdateHandler(LEDWidget &ledWidget)
{
	AppEvent event;
	event.Type = AppEventType::UpdateLedState;
	event.Handler = UpdateLedStateEventHandler;
	event.UpdateLedStateEvent.LedWidget = &ledWidget;
	PostEvent(event);
}

void AppTask::UpdateStatusLED()
{
	/* Update the status LED.
	 *
	 * If IPv6 network and service provisioned, keep the LED On constantly.
	 *
	 * If the system has ble connection(s) uptill the stage above, THEN blink the LED at an even
	 * rate of 100ms.
	 *
	 * Otherwise, blink the LED for a very short time. */
	if (sIsNetworkProvisioned && sIsNetworkEnabled) {
		sStatusLED.Set(true);
	} else if (sHaveBLEConnections) {
		sStatusLED.Blink(LedConsts::StatusLed::Unprovisioned::kOn_ms,
				 LedConsts::StatusLed::Unprovisioned::kOff_ms);
	} else {
		sStatusLED.Blink(LedConsts::StatusLed::Provisioned::kOn_ms, LedConsts::StatusLed::Provisioned::kOff_ms);
	}
}

void AppTask::ChipEventHandler(const ChipDeviceEvent *event, intptr_t /* arg */)
{
	switch (event->Type) {
	case DeviceEventType::kCHIPoBLEAdvertisingChange:
#ifdef CONFIG_CHIP_NFC_COMMISSIONING
		if (event->CHIPoBLEAdvertisingChange.Result == kActivity_Started) {
			if (NFCMgr().IsTagEmulationStarted()) {
				LOG_INF("NFC Tag emulation is already started");
			} else {
				ShareQRCodeOverNFC(
					chip::RendezvousInformationFlags(chip::RendezvousInformationFlag::kBLE));
			}
		} else if (event->CHIPoBLEAdvertisingChange.Result == kActivity_Stopped) {
			NFCMgr().StopTagEmulation();
		}
#endif
		sHaveBLEConnections = ConnectivityMgr().NumBLEConnections() != 0;
		UpdateStatusLED();
		break;
#if defined(CONFIG_NET_L2_OPENTHREAD)
	case DeviceEventType::kDnssdPlatformInitialized:
#if CONFIG_CHIP_OTA_REQUESTOR
		InitBasicOTARequestor();
#endif /* CONFIG_CHIP_OTA_REQUESTOR */
		break;
	case DeviceEventType::kThreadStateChange:
		sIsNetworkProvisioned = ConnectivityMgr().IsThreadProvisioned();
		sIsNetworkEnabled = ConnectivityMgr().IsThreadEnabled();
#elif defined(CONFIG_CHIP_WIFI)
	case DeviceEventType::kWiFiConnectivityChange:
		sIsNetworkProvisioned = ConnectivityMgr().IsWiFiStationProvisioned();
		sIsNetworkEnabled = ConnectivityMgr().IsWiFiStationEnabled();
#if CONFIG_CHIP_OTA_REQUESTOR
		if (event->WiFiConnectivityChange.Result == kConnectivity_Established) {
			InitBasicOTARequestor();
		}
#endif /* CONFIG_CHIP_OTA_REQUESTOR */
#endif
		UpdateStatusLED();
		break;
	default:
		break;
	}
}

void AppTask::CancelTimer()
{
	k_timer_stop(&sFunctionTimer);
	mFunctionTimerActive = false;
}

void AppTask::StartTimer(uint32_t timeoutInMs)
{
	k_timer_start(&sFunctionTimer, K_MSEC(timeoutInMs), K_NO_WAIT);
	mFunctionTimerActive = true;
}

void AppTask::ActionInitiated(PWMDevice::Action_t action, int32_t actor)
{
	if (action == PWMDevice::ON_ACTION) {
		LOG_INF("Turn On Action has been initiated");
	} else if (action == PWMDevice::OFF_ACTION) {
		LOG_INF("Turn Off Action has been initiated");
	} else if (action == PWMDevice::LEVEL_ACTION) {
		LOG_INF("Level Action has been initiated");
	}
}

void AppTask::ActionCompleted(PWMDevice::Action_t action, int32_t actor)
{
	if (action == PWMDevice::ON_ACTION) {
		LOG_INF("Turn On Action has been completed");
	} else if (action == PWMDevice::OFF_ACTION) {
		LOG_INF("Turn Off Action has been completed");
	} else if (action == PWMDevice::LEVEL_ACTION) {
		LOG_INF("Level Action has been completed");
	}

	if (actor == static_cast<int32_t>(AppEventType::Button)) {
		Instance().UpdateClusterState();
	}
}

void AppTask::PostEvent(const AppEvent &event)
{
	if (k_msgq_put(&sAppEventQueue, &event, K_NO_WAIT) != 0) {
		LOG_INF("Failed to post event to app task event queue");
	}
}

void AppTask::DispatchEvent(const AppEvent &event)
{
	if (event.Handler) {
		event.Handler(event);
	} else {
		LOG_INF("Event received with no handler. Dropping event.");
	}
}

void AppTask::UpdateClusterState()
{
	SystemLayer().ScheduleLambda([this] {
		/* write the new on/off value */
		EmberAfStatus status =
			Clusters::OnOff::Attributes::OnOff::Set(kLightEndpointId, mPWMDevice.IsTurnedOn());

		if (status != EMBER_ZCL_STATUS_SUCCESS) {
			LOG_ERR("Updating on/off cluster failed: %x", status);
		}

		/* write the current level */
		status = Clusters::LevelControl::Attributes::CurrentLevel::Set(kLightEndpointId, mPWMDevice.GetLevel());

		if (status != EMBER_ZCL_STATUS_SUCCESS) {
			LOG_ERR("Updating level cluster failed: %x", status);
		}
	});
}
```

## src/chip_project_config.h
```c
/*
 * Copyright (c) 2021 Nordic Semiconductor ASA
 *
 * SPDX-License-Identifier: LicenseRef-Nordic-5-Clause
 */

/**
 *    @file
 *          Example project configuration file for CHIP.
 *
 *          This is a place to put application or project-specific overrides
 *          to the default configuration values for general CHIP features.
 *
 */

#pragma once

/* Use a default pairing code if one hasn't been provisioned in flash. */
#define CHIP_DEVICE_CONFIG_USE_TEST_SETUP_PIN_CODE 20202021
#define CHIP_DEVICE_CONFIG_USE_TEST_SETUP_DISCRIMINATOR 0xF00

/*
 * Switching from Thread child to router may cause a few second packet stall.
 * Until this is improved in OpenThread we need to increase the retransmission
 * interval to survive the stall.
 */
#define CHIP_CONFIG_MRP_LOCAL_ACTIVE_RETRY_INTERVAL (1000_ms32)


// CONFIG_CHIP_DEVICE_VENDOR_ID sets the device manufacturer identifier that is assigned by the Connectivity Standards Alliance.

// CONFIG_CHIP_DEVICE_PRODUCT_ID sets the product identifier that is assigned by the product manufacturer.

// CONFIG_CHIP_DEVICE_TYPE sets the type of the device using the Matter Device Type Identifier,
//                         for example Door Lock (0x000A) or Dimmable Light Bulb (0x0101).

// CONFIG_CHIP_COMMISSIONABLE_DEVICE_TYPE enables including an optional device type subtype in the commissionable node discovery record.
//                                           This allows filtering of the discovery results to find the nodes that match the device type.

// CONFIG_CHIP_ROTATING_DEVICE_ID enables an optional rotating device identifier feature that provides an additional unique identifier for each device. This identifier is similar to the serial number, but it additionally changes at predefined times to protect against long-term tracking of the device.
```
